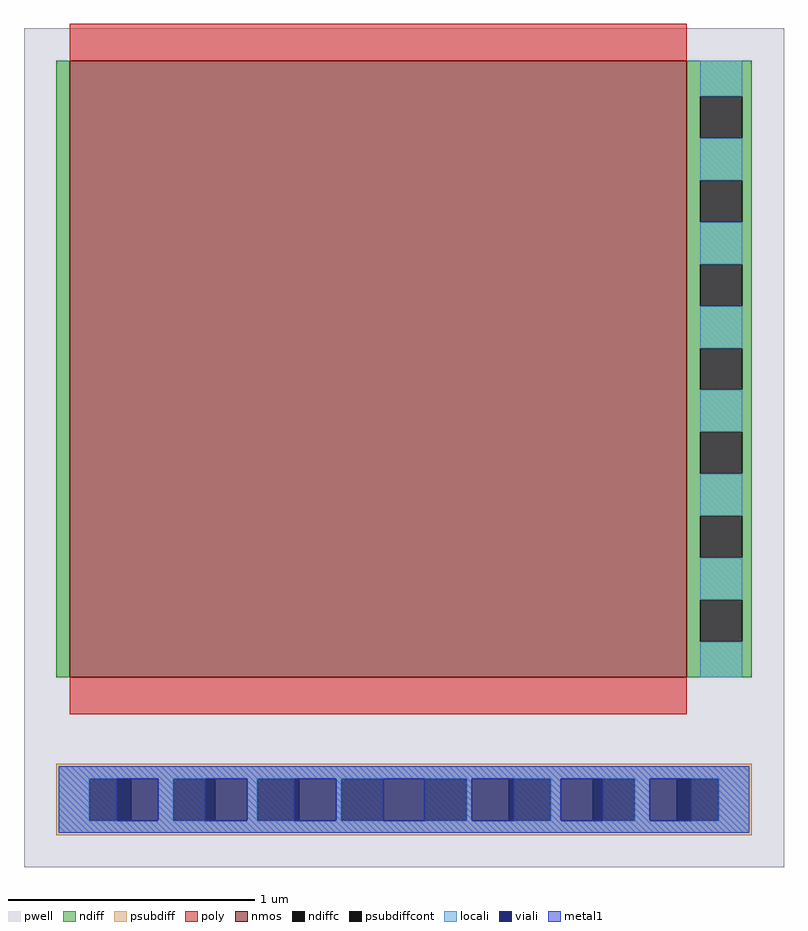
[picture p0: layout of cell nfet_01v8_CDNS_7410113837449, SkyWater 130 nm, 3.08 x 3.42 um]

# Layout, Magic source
magic
tech sky130A
magscale 1 2
<< pwell >>
rect -37 -154 579 526
<< nmos >>
rect 0 0 500 500
<< ndiff >>
rect -11 0 0 500
rect 500 471 553 500
rect 500 437 511 471
rect 545 437 553 471
rect 500 403 553 437
rect 500 369 511 403
rect 545 369 553 403
rect 500 335 553 369
rect 500 301 511 335
rect 545 301 553 335
rect 500 267 553 301
rect 500 233 511 267
rect 545 233 553 267
rect 500 199 553 233
rect 500 165 511 199
rect 545 165 553 199
rect 500 131 553 165
rect 500 97 511 131
rect 545 97 553 131
rect 500 63 553 97
rect 500 29 511 63
rect 545 29 553 63
rect 500 0 553 29
<< ndiffc >>
rect 511 437 545 471
rect 511 369 545 403
rect 511 301 545 335
rect 511 233 545 267
rect 511 165 545 199
rect 511 97 545 131
rect 511 29 545 63
<< psubdiff >>
rect -11 -82 553 -70
rect -11 -116 16 -82
rect 50 -116 84 -82
rect 118 -116 152 -82
rect 186 -116 220 -82
rect 254 -116 288 -82
rect 322 -116 356 -82
rect 390 -116 424 -82
rect 458 -116 492 -82
rect 526 -116 553 -82
rect -11 -128 553 -116
<< psubdiffcont >>
rect 16 -116 50 -82
rect 84 -116 118 -82
rect 152 -116 186 -82
rect 220 -116 254 -82
rect 288 -116 322 -82
rect 356 -116 390 -82
rect 424 -116 458 -82
rect 492 -116 526 -82
<< poly >>
rect 0 500 500 530
rect 0 -30 500 0
<< locali >>
rect 511 471 545 500
rect 511 403 545 437
rect 511 335 545 369
rect 511 267 545 301
rect 511 199 545 233
rect 511 131 545 165
rect 511 63 545 97
rect 511 0 545 29
rect -9 -82 551 -72
rect -9 -116 16 -82
rect 72 -116 84 -82
rect 144 -116 152 -82
rect 216 -116 220 -82
rect 322 -116 326 -82
rect 390 -116 398 -82
rect 458 -116 470 -82
rect 526 -116 551 -82
rect -9 -126 551 -116
<< viali >>
rect 38 -116 50 -82
rect 50 -116 72 -82
rect 110 -116 118 -82
rect 118 -116 144 -82
rect 182 -116 186 -82
rect 186 -116 216 -82
rect 254 -116 288 -82
rect 326 -116 356 -82
rect 356 -116 360 -82
rect 398 -116 424 -82
rect 424 -116 432 -82
rect 470 -116 492 -82
rect 492 -116 504 -82
<< metal1 >>
rect -9 -82 551 -72
rect -9 -116 38 -82
rect 72 -116 110 -82
rect 144 -116 182 -82
rect 216 -116 254 -82
rect 288 -116 326 -82
rect 360 -116 398 -82
rect 432 -116 470 -82
rect 504 -116 551 -82
rect -9 -126 551 -116
<< end >>
